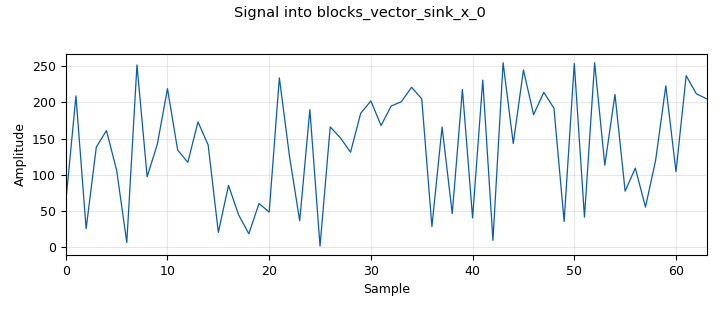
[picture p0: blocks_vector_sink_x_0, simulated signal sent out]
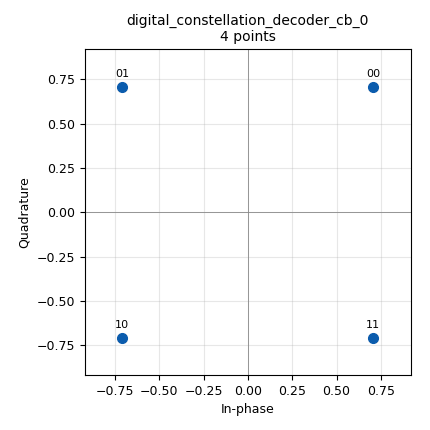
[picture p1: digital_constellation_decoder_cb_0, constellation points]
options:
  parameters:
    author: Oehme, Reuter
    generate_options: qt_gui
    id: Alamouti
    output_language: python
    run_options: run
    title: Alamouti Scheme
  states: {}

blocks:
- name: Pilot_0
  id: variable
  parameters:
    value: '[1,1]'
  states: {}
- name: Pilot_1
  id: variable
  parameters:
    value: '[1,-1]'
  states: {}
- name: S2_pen
  id: variable
  parameters:
    value: ((0.5, 0.5), (0.5, -0.5))
  states: {}
- name: alpha_0
  id: variable_qtgui_range
  parameters:
    start: '0'
    step: '0.001'
    stop: '1'
    value: '1'
  states: {}
- name: alpha_1
  id: variable_qtgui_range
  parameters:
    start: '0'
    step: '0.001'
    stop: '1'
    value: '1'
  states: {}
- name: data
  id: variable
  parameters:
    value: '[random.randint(0,255) for i in range(payload_size)]'
  states: {}
- name: noise_level
  id: variable_qtgui_range
  parameters:
    start: '0'
    step: '0.001'
    stop: '1'
    value: '0'
  states: {}
- name: payload_size
  id: variable
  parameters:
    value: '100'
  states: {}
- name: qpsk_0
  id: variable_constellation_rect
  parameters:
    const_points: '[0.707+0.707j, -0.707+0.707j, -0.707-0.707j, 0.707-0.707j]'
    imag_sect: '2'
    real_sect: '2'
    rot_sym: '4'
    sym_map: '[0, 1, 2, 3]'
    w_imag_sect: '1'
    w_real_sect: '1'
  states: {}
- name: theta_0
  id: variable_qtgui_range
  parameters:
    start: '0'
    step: '0.001'
    stop: 2*math.pi
    value: '0'
  states: {}
- name: theta_1
  id: variable_qtgui_range
  parameters:
    start: '0'
    step: '0.001'
    stop: 2*math.pi
    value: '0'
  states: {}
- name: analog_noise_source_x_0
  id: analog_noise_source_x
  parameters:
    amp: noise_level
    noise_type: analog.GR_GAUSSIAN
    seed: '0'
    type: complex
  states: {}
- name: blocks_add_xx_0
  id: blocks_add_xx
  parameters:
    num_inputs: '3'
    type: complex
  states: {}
- name: blocks_multiply_matrix_xx_0
  id: blocks_multiply_matrix_xx
  parameters:
    A: S2_pen
    tag_propagation_policy: gr.TPP_DONT
    type: complex
  states: {}
- name: blocks_multiply_xx_0
  id: blocks_multiply_xx
  parameters:
    type: complex
  states: {}
- name: blocks_multiply_xx_0_0
  id: blocks_multiply_xx
  parameters:
    type: complex
  states: {}
- name: blocks_repack_bits_bb_0
  id: blocks_repack_bits_bb
  parameters:
    endianness: gr.GR_MSB_FIRST
    k: '8'
    l: '2'
  states: {}
- name: blocks_repack_bits_bb_1
  id: blocks_repack_bits_bb
  parameters:
    endianness: gr.GR_MSB_FIRST
    k: '2'
    l: '8'
  states: {}
- name: blocks_repeat_0
  id: blocks_repeat
  parameters:
    interp: '8'
    type: complex
  states: {}
- name: blocks_repeat_0_0
  id: blocks_repeat
  parameters:
    interp: '8'
    type: complex
  states: {}
- name: blocks_stream_demux_0
  id: blocks_stream_demux
  parameters:
    lengths: (2, 8)
    type: complex
  states: {}
- name: blocks_stream_demux_0_0
  id: blocks_stream_demux
  parameters:
    lengths: (1, 1)
    type: complex
  states: {}
- name: blocks_stream_mux_0
  id: blocks_stream_mux
  parameters:
    lengths: (2, 8)
    type: complex
  states: {}
- name: blocks_stream_mux_0_0
  id: blocks_stream_mux
  parameters:
    lengths: (2, 8)
    type: complex
  states: {}
- name: blocks_throttle2_2
  id: blocks_throttle2
  parameters:
    samples_per_second: '100000'
    type: byte
  states: {}
- name: blocks_vector_sink_x_0
  id: blocks_vector_sink_x
  parameters:
    type: byte
  states: {}
- name: blocks_vector_source_x_0
  id: blocks_vector_source_x
  parameters:
    repeat: 'True'
    type: byte
    vector: data
  states: {}
- name: blocks_vector_source_x_1
  id: blocks_vector_source_x
  parameters:
    repeat: 'True'
    type: complex
    vector: '[alpha_0*np.exp(1j*theta_0)]'
  states: {}
- name: blocks_vector_source_x_1_0
  id: blocks_vector_source_x
  parameters:
    repeat: 'True'
    type: complex
    vector: '[alpha_1*np.exp(1j*theta_1)]'
  states: {}
- name: blocks_vector_source_x_2
  id: blocks_vector_source_x
  parameters:
    repeat: 'True'
    type: complex
    vector: Pilot_0
  states: {}
- name: blocks_vector_source_x_2_0
  id: blocks_vector_source_x
  parameters:
    repeat: 'True'
    type: complex
    vector: Pilot_1
  states: {}
- name: digital_constellation_decoder_cb_0
  id: digital_constellation_decoder_cb
  parameters:
    constellation: qpsk_0
  states: {}
- name: digital_constellation_encoder_bc_0
  id: digital_constellation_encoder_bc
  parameters:
    constellation: qpsk_0
  states: {}
- name: epy_block_0
  id: epy_block
  parameters:
    _source_code: "\"\"\"\nEmbedded Python Blocks:\n\nEach time this file is saved, GRC will instantiate the first class it finds\nto get ports and parameters of your block. The arguments to __init__  will\nbe the parameters. All of them are required to have default values!\n\"\"\"\n\nimport numpy as np\nfrom gnuradio import gr\n\n\nclass blk(gr.sync_block):  # other base classes are basic_block, decim_block, interp_block\n    \"\"\"Embedded Python Block example - a simple multiply const\"\"\"\n\n    def __init__(self):  # only default arguments here\n        \"\"\"arguments to this function show up as parameters in GRC\"\"\"\n        gr.sync_block.__init__(\n            self,\n            name='Create Alamouti Signals',   # will show up in GRC\n            in_sig=[np.complex64],\n            out_sig=[np.complex64, np.complex64]\n        )\n        # if an attribute with the same name as a parameter is found,\n        # a callback is registered (properties work, too).\n\n    def work(self, input_items, output_items):\n        \n        #Converts the input vector into the two vector for the antennas\n        if (len(input_items[0])>1):\n            output_items[0][0] = input_items[0][0]\n            output_items[1][0] = input_items[0][1]\n        \n            output_items[0][1] = -np.conj(input_items[0][1])\n            output_items[1][1] = np.conj(input_items[0][0]) \n            \n            return 2\n        else:\n            return 0\n\n"
    comment: |-
      The input is a vector source with the vector we want to transmit. 
      The two output vectors correspond to the values, which are transmitted by the two antennas.
  states: {}
- name: epy_block_2
  id: epy_block
  parameters:
    _source_code: |
      """
      Embedded Python Blocks:

      Each time this file is saved, GRC will instantiate the first class it finds
      to get ports and parameters of your block. The arguments to __init__  will
      be the parameters. All of them are required to have default values!
      """

      import numpy as np
      from gnuradio import gr


      class blk(gr.sync_block):  # other base classes are basic_block, decim_block, interp_block
          """Embedded Python Block example - a simple multiply const"""

          def __init__(self):  # only default arguments here
              """arguments to this function show up as parameters in GRC"""
              gr.sync_block.__init__(
                  self,
                  name='Decode Alamouti',   # will show up in GRC
                  in_sig=[np.complex64, np.complex64, np.complex64],
                  out_sig=[np.complex64]
              )
              # if an attribute with the same name as a parameter is found,
              # a callback is registered (properties work, too).

          def work(self, input_items, output_items):
              """example: multiply with constant"""

              h0 = input_items[1][0]
              h1 = input_items[2][0]
              output_items[0][0] = np.conj(h0)*input_items[0][0]+h1*np.conj(input_items[0][1])
              output_items[0][1] = np.conj(h1)*input_items[0][0]-h0*np.conj(input_items[0][1])

              return 2
  states: {}
- name: import_0
  id: import
  parameters:
    imports: import random
  states: {}
- name: import_0_0
  id: import
  parameters:
    imports: import math
  states: {}
- name: import_1
  id: import
  parameters:
    imports: import numpy as np
  states: {}
- name: virtual_sink_0
  id: virtual_sink
  parameters:
    stream_id: rx
  states: {}
- name: virtual_sink_1
  id: virtual_sink
  parameters:
    stream_id: h0_est
  states: {}
- name: virtual_sink_1_0
  id: virtual_sink
  parameters:
    stream_id: h1_est
  states: {}
- name: virtual_sink_2
  id: virtual_sink
  parameters:
    stream_id: h0
  states: {}
- name: virtual_sink_2_0
  id: virtual_sink
  parameters:
    stream_id: h1
  states: {}
- name: virtual_sink_3
  id: virtual_sink
  parameters:
    stream_id: chan_est
  states: {}
- name: virtual_sink_3_0
  id: virtual_sink
  parameters:
    stream_id: tx_1
  states: {}
- name: virtual_sink_3_1
  id: virtual_sink
  parameters:
    stream_id: tx_0
  states: {}
- name: virtual_source_0
  id: virtual_source
  parameters:
    stream_id: rx
  states: {}
- name: virtual_source_1
  id: virtual_source
  parameters:
    stream_id: h0
  states: {}
- name: virtual_source_1_0
  id: virtual_source
  parameters:
    stream_id: h1
  states: {}
- name: virtual_source_1_0_0
  id: virtual_source
  parameters:
    stream_id: tx_1
  states: {}
- name: virtual_source_1_1
  id: virtual_source
  parameters:
    stream_id: tx_0
  states: {}
- name: virtual_source_2
  id: virtual_source
  parameters:
    stream_id: h0_est
  states: {}
- name: virtual_source_2_0
  id: virtual_source
  parameters:
    stream_id: h1_est
  states: {}
- name: virtual_source_3
  id: virtual_source
  parameters:
    stream_id: chan_est
  states: {}

connections:
- [analog_noise_source_x_0, '0', blocks_add_xx_0, '2']
- [blocks_add_xx_0, '0', virtual_sink_0, '0']
- [blocks_multiply_matrix_xx_0, '0', blocks_repeat_0, '0']
- [blocks_multiply_matrix_xx_0, '1', blocks_repeat_0_0, '0']
- [blocks_multiply_xx_0, '0', blocks_add_xx_0, '0']
- [blocks_multiply_xx_0_0, '0', blocks_add_xx_0, '1']
- [blocks_repack_bits_bb_0, '0', blocks_throttle2_2, '0']
- [blocks_repack_bits_bb_1, '0', blocks_vector_sink_x_0, '0']
- [blocks_repeat_0, '0', virtual_sink_1, '0']
- [blocks_repeat_0_0, '0', virtual_sink_1_0, '0']
- [blocks_stream_demux_0, '0', virtual_sink_3, '0']
- [blocks_stream_demux_0, '1', epy_block_2, '0']
- [blocks_stream_demux_0_0, '0', blocks_multiply_matrix_xx_0, '0']
- [blocks_stream_demux_0_0, '1', blocks_multiply_matrix_xx_0, '1']
- [blocks_stream_mux_0, '0', virtual_sink_3_1, '0']
- [blocks_stream_mux_0_0, '0', virtual_sink_3_0, '0']
- [blocks_throttle2_2, '0', digital_constellation_encoder_bc_0, '0']
- [blocks_vector_source_x_0, '0', blocks_repack_bits_bb_0, '0']
- [blocks_vector_source_x_1, '0', virtual_sink_2, '0']
- [blocks_vector_source_x_1_0, '0', virtual_sink_2_0, '0']
- [blocks_vector_source_x_2, '0', blocks_stream_mux_0, '0']
- [blocks_vector_source_x_2_0, '0', blocks_stream_mux_0_0, '0']
- [digital_constellation_decoder_cb_0, '0', blocks_repack_bits_bb_1, '0']
- [digital_constellation_encoder_bc_0, '0', epy_block_0, '0']
- [epy_block_0, '0', blocks_stream_mux_0, '1']
- [epy_block_0, '1', blocks_stream_mux_0_0, '1']
- [epy_block_2, '0', digital_constellation_decoder_cb_0, '0']
- [virtual_source_0, '0', blocks_stream_demux_0, '0']
- [virtual_source_1, '0', blocks_multiply_xx_0, '1']
- [virtual_source_1_0, '0', blocks_multiply_xx_0_0, '1']
- [virtual_source_1_0_0, '0', blocks_multiply_xx_0_0, '0']
- [virtual_source_1_1, '0', blocks_multiply_xx_0, '0']
- [virtual_source_2, '0', epy_block_2, '1']
- [virtual_source_2_0, '0', epy_block_2, '2']
- [virtual_source_3, '0', blocks_stream_demux_0_0, '0']

metadata:
  file_format: 1
  grc_version: 3.10.7.0
